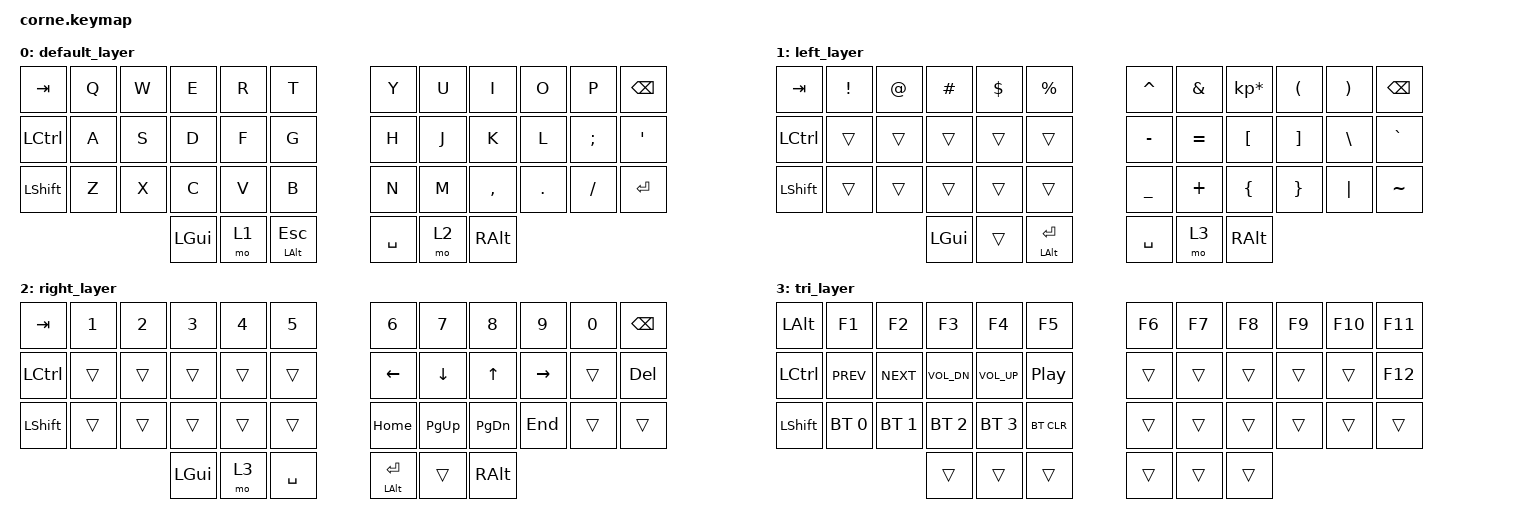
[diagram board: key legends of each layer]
/*
 * Copyright (c) 2020 The ZMK Contributors
 *
 * SPDX-License-Identifier: MIT
 */

#include <behaviors.dtsi>
#include <dt-bindings/zmk/keys.h>
#include <dt-bindings/zmk/bt.h>

/ {
        ehaviors {
          tp: tap_preferred {
            compatible = "zmk,behavior-hold-tap";
            label = "TAP_PREFERRED";
            #binding-cells = <2>;
            tapping-term-ms = <200>;
            quick-tap-ms = <0>;
            flavor = "tap-preferred";
            bindings = <&kp>, <&kp>;
          }; 
        };

        keymap {
                compatible = "zmk,keymap";

                default_layer {
// -----------------------------------------------------------------------------------------
// |  TAB  |  Q  |  W  |  E  |  R  |    T    |   |  Y  |  U   |  I  |  O  |  P  | BKSP |
// | CTRL  |  A  |  S  |  D  |  F  |    G    |   |  H  |  J   |  K  |  L  |  ;  |  '   |
// | SHIFT |  Z  |  X  |  C  |  V  |    B    |   |  N  |  M   |  ,  |  .  |  /  | ENT  |
//                     | GUI | LWR | ALT/ESC |   | SPC | RSE  | ALT |
                        bindings = <
   &kp TAB   &kp Q &kp W &kp E    &kp R &kp T           &kp Y &kp U  &kp I     &kp O   &kp P    &kp BSPC
   &kp LCTRL &kp A &kp S &kp D    &kp F &kp G           &kp H &kp J  &kp K     &kp L   &kp SEMI &kp SQT
   &kp LSHFT &kp Z &kp X &kp C    &kp V &kp B           &kp N &kp M  &kp COMMA &kp DOT &kp FSLH &kp RET
                         &kp LGUI &mo 1 &tp LALT ESC    &kp SPACE &mo 2 &kp RALT
                        >;
                };

                left_layer {
// -----------------------------------------------------------------------------------------
// |  TAB  |  !  |  @  |  #  |  $  |     %     |   |  ^  |  &  |  *  |  (  |  )  | BKSP |
// | CTRL  |     |     |     |     |           |   |  -  |  =  |  [  |  ]  |  \  |  `   |
// | SHIFT |     |     |     |     |           |   |  _  |  +  |  {  |  }  | "|" |  ~   |
//                     | GUI | FNC | ALT/ENTER |   | SPC |     | ALT |
                        bindings = <
   &kp  TAB  &kp EXCL &kp AT &kp HASH &kp DLLR &kp PRCNT       &kp CARET &kp AMPS  &kp KP_MULTIPLY &kp LPAR &kp RPAR &kp BSPC
   &kp LCTRL &trans   &trans &trans   &trans   &trans          &kp MINUS &kp EQUAL &kp LBKT        &kp RBKT &kp BSLH &kp GRAVE
   &kp LSHFT &trans   &trans &trans   &trans   &trans          &kp UNDER &kp PLUS  &kp LBRC        &kp RBRC &kp PIPE &kp TILDE
                             &kp LGUI &trans   &tp LALT RET    &kp SPACE &mo 3     &kp RALT
                        >;
                };
                
                right_layer {
// -----------------------------------------------------------------------------------------
// |  TAB  |  1  |  2  |  3  |  4  |  5  |   |    6    |  7   |  8   |  9  |  0  | BKSP |
// | CTRL  |     |     |     |     |     |   |   LFT   | DWN  |  UP  | RGT |     | DEL  |
// | SHIFT |     |     |     |     |     |   |  HOME   | PGUP | PGDN | EMD |     |      |
//                     | GUI |     | SPC |   | ALT/ENT | FNC  | ALT  |
                        bindings = <
   &kp TAB   &kp N1  &kp N2  &kp N3   &kp N4  &kp N5       &kp N6       &kp N7    &kp N8    &kp N9    &kp N0 &kp BSPC
   &kp LCTRL &trans  &trans  &trans   &trans  &trans       &kp LEFT     &kp DOWN  &kp UP    &kp RIGHT &trans &kp DEL
   &kp LSHFT &trans  &trans  &trans   &trans  &trans       &kp HOME     &kp PG_UP &kp PG_DN &kp END   &trans &trans
                             &kp LGUI &mo 3   &kp SPACE    &tp LALT RET &trans    &kp RALT
                        >;
                };

                tri_layer {
// -----------------------------------------------------------------------------------------
// |  ALT  |  F1  |  F2  |  F3   |  F4   |     F5     |   |  F6  |  F7  |  F8  |  F9  |  F10  |  F11  |
// | CTRL  | Prev | Next | Vol - | Vol + | Play/Pause |   |      |      |      |      |       |  F12  |
// | SHIFT | BT1  | BT2  |  BT3  |  BT4  |    BTCR    |   |      |      |      |      |       |       |
//                       |       |       |            |   |      |      |      |
                        bindings = <
   &kp LALT  &kp F1       &kp F2       &kp F3       &kp F4       &kp F5          &kp F6  &kp F7  &kp F8  &kp F9  &kp F10  &kp F11
   &kp LCTRL &kp C_PREV   &kp C_NEXT   &kp C_VOL_DN &kp C_VOL_UP &kp C_PP        &trans  &trans  &trans  &trans  &trans   &kp F12
   &kp LSHFT &bt BT_SEL 0 &bt BT_SEL 1 &bt BT_SEL 2 &bt BT_SEL 3 &bt BT_CLR      &trans  &trans  &trans  &trans  &trans   &trans
                                       &trans       &trans       &trans          &trans  &trans  &trans
                        >;
                };
        };
};
